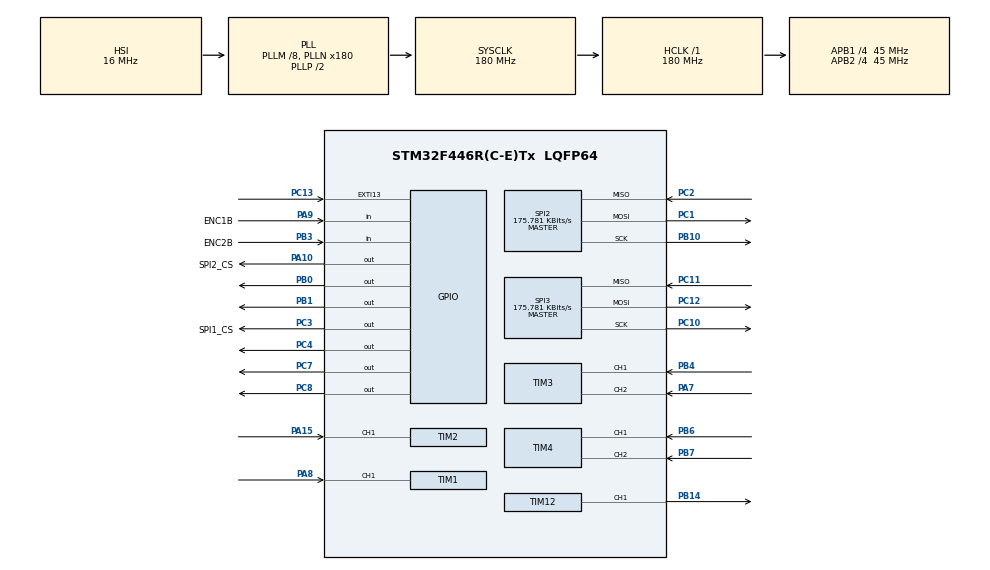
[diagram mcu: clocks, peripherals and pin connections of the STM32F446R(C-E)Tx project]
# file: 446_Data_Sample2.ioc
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Mcu.Family=STM32F4
Mcu.Name=STM32F446R(C-E)Tx
Mcu.Package=LQFP64
NVIC.EXTI15_10_IRQn=true\:0\:0\:false\:false\:true\:true\:true\:true
NVIC.PriorityGroup=NVIC_PRIORITYGROUP_0
NVIC.TIM1_CC_IRQn=true\:0\:0\:false\:false\:true\:true\:true\:true
NVIC.TIM2_IRQn=true\:0\:0\:false\:false\:true\:true\:true\:true
PA10.GPIO_Label=SPI2_CS
PA10.GPIO_PuPd=GPIO_PULLUP
PA10.GPIO_Speed=GPIO_SPEED_FREQ_HIGH
PA10.PinState=GPIO_PIN_SET
PA10.Signal=GPIO_Output
PA15.Signal=S_TIM2_CH1_ETR
PA7.Signal=S_TIM3_CH2
PA8.Signal=S_TIM1_CH1
PA9.GPIO_Label=ENC1B
PA9.Signal=GPIO_Input
PB0.Signal=GPIO_Output
PB1.Signal=GPIO_Output
PB10.GPIO_PuPd=GPIO_PULLUP
PB10.Mode=Full_Duplex_Master
PB10.Signal=SPI2_SCK
PB14.Signal=S_TIM12_CH1
PB3.GPIO_Label=ENC2B
PB3.Signal=GPIO_Input
PB4.Signal=S_TIM3_CH1
PB6.Signal=S_TIM4_CH1
PB7.Signal=S_TIM4_CH2
PC1.GPIO_PuPd=GPIO_PULLUP
PC1.Mode=Full_Duplex_Master
PC1.Signal=SPI2_MOSI
PC10.GPIO_PuPd=GPIO_PULLUP
PC10.Mode=Full_Duplex_Master
PC10.Signal=SPI3_SCK
PC11.GPIO_PuPd=GPIO_PULLUP
PC11.Mode=Full_Duplex_Master
PC11.Signal=SPI3_MISO
PC12.GPIO_PuPd=GPIO_PULLUP
PC12.Mode=Full_Duplex_Master
PC12.Signal=SPI3_MOSI
PC13.Signal=GPXTI13
PC14-OSC32_IN.Mode=LSE-External-Oscillator
PC14-OSC32_IN.Signal=RCC_OSC32_IN
PC15-OSC32_OUT.Mode=LSE-External-Oscillator
PC15-OSC32_OUT.Signal=RCC_OSC32_OUT
PC2.GPIO_PuPd=GPIO_PULLUP
PC2.Mode=Full_Duplex_Master
PC2.Signal=SPI2_MISO
PC3.GPIO_Label=SPI1_CS
PC3.GPIO_PuPd=GPIO_PULLUP
PC3.GPIO_Speed=GPIO_SPEED_FREQ_HIGH
PC3.PinState=GPIO_PIN_SET
PC3.Signal=GPIO_Output
PC4.GPIO_PuPd=GPIO_NOPULL
PC4.GPIO_Speed=GPIO_SPEED_FREQ_LOW
PC4.Signal=GPIO_Output
PC7.Signal=GPIO_Output
PC8.Signal=GPIO_Output
PC9.Signal=S_TIM3_CH4
PH0-OSC_IN.Mode=HSE-External-Oscillator
PH0-OSC_IN.Signal=RCC_OSC_IN
PH1-OSC_OUT.Mode=HSE-External-Oscillator
PH1-OSC_OUT.Signal=RCC_OSC_OUT
ProjectManager.HeapSize=0x200
ProjectManager.StackSize=0x400
ProjectManager.TargetToolchain=STM32CubeIDE
RCC.AHBFreq_Value=180000000
RCC.APB1CLKDivider=RCC_HCLK_DIV4
RCC.APB1Freq_Value=45000000
RCC.APB1TimFreq_Value=90000000
RCC.APB2CLKDivider=RCC_HCLK_DIV4
RCC.APB2Freq_Value=45000000
RCC.APB2TimFreq_Value=90000000
RCC.CortexFreq_Value=180000000
RCC.FLatency-AdvancedSettings=FLASH_LATENCY_5
RCC.HCLKFreq_Value=180000000
RCC.HSE_VALUE=8000000
RCC.HSI_VALUE=16000000
RCC.PLLM=8
RCC.PLLN=180
RCC.SYSCLKFreq_VALUE=180000000
RCC.SYSCLKSource=RCC_SYSCLKSOURCE_PLLCLK
RCC.USBFreq_Value=180000000
RCC.VCOOutputFreq_Value=360000000
SH.S_TIM12_CH1.0=TIM12_CH1,PWM Generation1 CH1
SH.S_TIM1_CH1.0=TIM1_CH1,Input_Capture1_from_TI1
SH.S_TIM2_CH1_ETR.0=TIM2_CH1,Input_Capture1_from_TI1
SH.S_TIM3_CH1.0=TIM3_CH1,Encoder_Interface
SH.S_TIM3_CH2.0=TIM3_CH2,Encoder_Interface
SH.S_TIM3_CH4.0=TIM3_CH4
SH.S_TIM4_CH1.0=TIM4_CH1,Encoder_Interface
SH.S_TIM4_CH2.0=TIM4_CH2,Encoder_Interface
SPI2.BaudRatePrescaler=SPI_BAUDRATEPRESCALER_256
SPI2.CalculateBaudRate=175.781 KBits/s
SPI2.Direction=SPI_DIRECTION_2LINES
SPI2.Mode=SPI_MODE_MASTER
SPI2.VirtualType=VM_MASTER
SPI3.BaudRatePrescaler=SPI_BAUDRATEPRESCALER_256
SPI3.CalculateBaudRate=175.781 KBits/s
SPI3.Direction=SPI_DIRECTION_2LINES
SPI3.Mode=SPI_MODE_MASTER
SPI3.VirtualType=VM_MASTER
TIM1.AutoReloadPreload=TIM_AUTORELOAD_PRELOAD_ENABLE
TIM1.Channel-Input_Capture1_from_TI1=TIM_CHANNEL_1
TIM1.ICFilter_CH1=3
TIM12.Channel-PWM\ Generation1\ CH1=TIM_CHANNEL_1
TIM12.Period=999
TIM12.Prescaler=89
TIM2.Channel-Input_Capture1_from_TI1=TIM_CHANNEL_1
TIM2.ICFilter_CH1=3
TIM2.Prescaler=89
TIM3.EncoderMode=TIM_ENCODERMODE_TI12
TIM4.EncoderMode=TIM_ENCODERMODE_TI12
TIM4.IC1Filter=3
TIM4.IC2Filter=3
TIM5.Prescaler=89
VP_FATFS_VS_Generic.Mode=User_defined
VP_TIM12_VS_ClockSourceINT.Mode=Internal
VP_TIM5_VS_ClockSourceINT.Mode=Internal
board=NUCLEO-F446RE

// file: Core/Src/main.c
/* USER CODE BEGIN Header */
/**
 ******************************************************************************
 * @file           : main.c
 * @brief          : Main program body
 ******************************************************************************
 * @attention
 *
 * Copyright (c) 2026 STMicroelectronics.
 * All rights reserved.
 *
 * This software is licensed under terms that can be found in the LICENSE file
 * in the root directory of this software component.
 * If no LICENSE file comes with this software, it is provided AS-IS.
 *
 ******************************************************************************
 */
/* USER CODE END Header */
#include "main.h"
#include "fatfs.h"

/* USER CODE BEGIN Includes */
#include "stdio.h"
#include "string.h"
#include"stdarg.h"
#include "motor.h"
#include "amt203.h"
typedef struct {
	uint32_t time_stamp;   // ms
	int32_t ENC1_pos;     // Encoder 1 position
	int32_t ENC2_pos;     // Encoder 2 position
	int8_t  ENC1_dir;     // +1 / -1 (last direction)
	int8_t  ENC2_dir;     // +1 / -1
	int16_t Angle;
} Buffer_struct;
typedef struct __attribute__((packed)) {
	uint32_t time_stamp;
	int32_t  ENC1_pos;
	int32_t  ENC2_pos;
	int8_t   ENC1_dir;
	int8_t   ENC2_dir;
	int16_t Angle;
} LogEntry;
#define LOG_BUFFER_SIZE 512  // Буферийг томсгов
#define WRITE_CACHE_SIZE 512  // SD картны сектортой ижил
volatile LogEntry logBuffer[LOG_BUFFER_SIZE];
uint8_t write_cache[WRITE_CACHE_SIZE];
uint16_t 	cache_ptr = 0;
#define RAD_PER_COUNT 0.076660f   // = 2*pi / (1600 * 0.01)
volatile uint16_t head = 0;   // write index (ISR)
volatile uint16_t tail = 0;   // read index (main)
volatile Buffer_struct Log;
//volatile uint16_t logIndex = 0;
//volatile uint8_t logReady = 0;
uint8_t dummy = 0xFF;
int16_t Count_a=0;
int16_t Count_b=0;
int16_t ir_count;
int16_t irA_count;
int16_t irB_count;
uint16_t pos=0;
volatile int16_t latestAngle;
volatile FRESULT sd_res = FR_OK;
volatile UINT sd_bw = 0;
volatile uint16_t sd_size = 0;
volatile uint32_t sd_error_count = 0;
volatile uint32_t sd_write_count = 0;
volatile uint32_t pop_count = 0;
#define AMT203_CS_LOW()   HAL_GPIO_WritePin(SPI1_CS_GPIO_Port,SPI1_CS_Pin, GPIO_PIN_RESET)
#define AMT203_CS_HIGH()  HAL_GPIO_WritePin(SPI1_CS_GPIO_Port,SPI1_CS_Pin, GPIO_PIN_SET)
AMT203_t  encoder;
uint16_t  encoderRawPosition;    /* 0–4095, 0xFFFF = read failure     */
float     encoderDegrees;        /* 0.0–360.0                          */
uint8_t   encoderSetZeroResult;  /* 1 = success (power-cycle required) */
uint8_t   spiLastResponse;       /* last raw byte from encoder — debug */
uint8_t Angle_read_flag=0;
/* USER CODE END Includes */

SPI_HandleTypeDef hspi2;
SPI_HandleTypeDef hspi3;

TIM_HandleTypeDef htim1;
TIM_HandleTypeDef htim2;
TIM_HandleTypeDef htim3;
TIM_HandleTypeDef htim4;
TIM_HandleTypeDef htim5;
TIM_HandleTypeDef htim12;

/* USER CODE BEGIN PV */
Motor_Encoder_Variables Motor_Encoder;
PID_Variables Motor_PID;
DC_Motor_GPIO_t Motor_GPIO;
int16_t speed1=0;
uint8_t write_flag=0;

static inline void log_push(LogEntry *entry)
{
	uint16_t next = (head + 1) % LOG_BUFFER_SIZE;
	if(next == tail)
	{
		// Buffer full → overflow (алдаа)
		return;
	}
	logBuffer[head] = *entry;
	head = next;
}

//void HAL_TIM_IC_CaptureCallback(TIM_HandleTypeDef *htim)
//{
//	if(write_flag==1)
//	{
//	LogEntry entry={0};
//	int8_t dir;
//	ir_count++;
//	/* Global 1µs timestamp (32-bit, no overflow issue) */
//	uint32_t ts = TIM5->CNT;
//
//	/* ================= ENC1 (TIM2) ================= */
//	if (htim->Instance == TIM1 &&
//			htim->Channel == HAL_TIM_ACTIVE_CHANNEL_1)
//	{
//		dir = (ENC1B_GPIO_Port->IDR & ENC1B_Pin) ? -1 : 1;
//		Log.ENC1_pos += dir;
//		Count_a+=dir;
//		entry.time_stamp = ts;
//		entry.ENC1_pos   = Log.ENC1_pos;
//		entry.ENC2_pos   = Log.ENC2_pos;
//		entry.ENC1_dir   = dir;
//		entry.ENC2_dir   = 0;
//		log_push(&entry);
//		dir=0;
//		irA_count++;
//
//	}
//
//	/* ================= ENC2 (TIM1) ================= */
//	 if (htim->Instance == TIM2 &&
//			htim->Channel == HAL_TIM_ACTIVE_CHANNEL_1)
//	{
//		dir = (ENC2B_GPIO_Port->IDR & ENC2B_Pin) ? -1 : 1;
//		Log.ENC2_pos += dir;
//		Count_b+=dir;
//		entry.time_stamp = ts;
//		entry.ENC1_pos   = Log.ENC1_pos;
//		entry.ENC2_pos   = Log.ENC2_pos;
//		entry.ENC1_dir   = 0;
//		entry.ENC2_dir   = dir;
//		log_push(&entry);
//		dir=0;
//		irB_count++;
//
//	}
//	}
//}
void HAL_TIM_IC_CaptureCallback(TIM_HandleTypeDef *htim)
{
    if (write_flag == 0) return;

    LogEntry entry = {0};
    int8_t dir = 0;
    uint32_t ts = TIM5->CNT;
    if (htim->Instance == TIM1 &&
        htim->Channel == HAL_TIM_ACTIVE_CHANNEL_1)
    {
        dir = (ENC1B_GPIO_Port->IDR & ENC1B_Pin) ? -1 : 1;

        Log.ENC1_pos += dir;
        Count_a += dir;

        entry.time_stamp = ts;
        entry.ENC1_pos   = Log.ENC1_pos;
        entry.ENC2_pos   = Log.ENC2_pos;
        entry.ENC1_dir   = dir;
        entry.ENC2_dir   = 0;
        entry.Angle=latestAngle;
        log_push(&entry);
        irA_count++;
    }
    else if (htim->Instance == TIM2 &&
             htim->Channel == HAL_TIM_ACTIVE_CHANNEL_1)
    {
        dir = (ENC2B_GPIO_Port->IDR & ENC2B_Pin) ? -1 : 1;

        Log.ENC2_pos += dir;
        Count_b += dir;

        entry.time_stamp = ts;
        entry.ENC1_pos   = Log.ENC1_pos;
        entry.ENC2_pos   = Log.ENC2_pos;
        entry.ENC1_dir   = 0;
        entry.ENC2_dir   = dir;
        entry.Angle=latestAngle;;
        log_push(&entry);
        irB_count++;
    }
}
static uint32_t last = 0;
volatile uint8_t flush_request = 0;
void HAL_GPIO_EXTI_Callback(uint16_t GPIO_Pin)
{
    if (GPIO_Pin == GPIO_PIN_13)
    {
        if (HAL_GetTick() - last > 200)
        {
            write_flag ^= 1;
            last = HAL_GetTick();

            if (write_flag)
                Motor_PID.SP = -20;
            else
                Motor_PID.SP = 0;
        }
    }
}
static int log_pop(LogEntry *entry)
{
	if(head == tail)
		return 0; // empty
	*entry = logBuffer[tail];
	tail = (tail + 1) % LOG_BUFFER_SIZE;
	return 1;
}

void Estimate_Speed1(Motor_Encoder_Variables *Encoder)
{
    Encoder->CurrentPos = Encoder->timer_address->Instance->CNT;

    int16_t diff =Encoder->CurrentPos - Encoder->Oldpos;
    Encoder->Oldpos =  Encoder->CurrentPos;

    Encoder->difference = diff;

    // ✔ rad/s
    Encoder->Speed = (float)diff * RAD_PER_COUNT;
}
/* USER CODE END PV */

void SystemClock_Config(void);
static void MX_GPIO_Init(void);
static void MX_TIM1_Init(void);
static void MX_TIM2_Init(void);
static void MX_TIM3_Init(void);
static void MX_SPI2_Init(void);
static void MX_TIM5_Init(void);
static void MX_TIM12_Init(void);
static void MX_SPI3_Init(void);
static void MX_TIM4_Init(void);

int main(void)
{

  /* MCU Configuration--------------------------------------------------------*/

  /* Reset of all peripherals, Initializes the Flash interface and the Systick. */
  HAL_Init();

  /* Configure the system clock */
  SystemClock_Config();

  /* Initialize all configured peripherals */
  MX_GPIO_Init();
  MX_TIM1_Init();
  MX_TIM2_Init();
  MX_TIM3_Init();
  MX_SPI2_Init();
  MX_FATFS_Init();
  MX_TIM5_Init();
  MX_TIM12_Init();
  MX_SPI3_Init();
  MX_TIM4_Init();
  /* USER CODE BEGIN 2 */

  AMT203_Init(&encoder, &hspi3, GPIOC, GPIO_PIN_3);
  HAL_Delay(2);
  AMT203_SetZero(&encoder);  /* USER CODE END 2 */
	FATFS FatFs; 	//Fatfs handle
	FIL fil; 		//File handle
	FRESULT fres; //Result after operations
	HAL_Delay(500);

	fres = f_mount(&FatFs, "", 1);
	if(fres != FR_OK) while(1);

	fres = f_open(&fil, "log16.bin", FA_OPEN_ALWAYS | FA_WRITE);
	if (fres != FR_OK) Error_Handler();

	f_lseek(&fil, f_size(&fil));

	UINT bw;
	char test[] = "START\n";
	fres = f_write(&fil, test, strlen(test), &bw);

	if (fres != FR_OK || bw != strlen(test))
	    Error_Handler();

	f_sync(&fil);
	f_lseek(&fil, f_size(&fil));
	HAL_TIM_Base_Start(&htim5);
	HAL_TIM_IC_Start_IT(&htim1, TIM_CHANNEL_1);
	HAL_TIM_IC_Start_IT(&htim2, TIM_CHANNEL_1);
	hspi2.Instance = SPI2;
	hspi2.Init.BaudRatePrescaler = SPI_BAUDRATEPRESCALER_16;   // эсвэл 8
	HAL_SPI_Init(&hspi2);
	HAL_TIM_PWM_Start(&htim12, TIM_CHANNEL_1);
	Motor_Encoder.timer_address=&htim3;
	Motor_GPIO.PWM_CHANNEL_ADDRESS=(uint32_t *)&TIM12->CCR1;
	Motor_GPIO.pinA=GPIO_PIN_7;
	Motor_GPIO.pinB=GPIO_PIN_8;
	Motor_GPIO.portA=GPIOC;
	Motor_GPIO.portB=GPIOC;
	PID_init(&Motor_PID, 1.5, 0.03, 0.25, -26.18, 26.18, -999, 999);
	uint32_t last_measure_time=0;
	HAL_TIM_Encoder_Start(&htim3, TIM_CHANNEL_ALL);
  /* USER CODE END 2 */

  /* Infinite loop */
	while (1)
	{

    /* USER CODE BEGIN 3 */
		/* ===== SD бичилт ===== */
		LogEntry entry;
		if (log_pop(&entry))
		{
		    memcpy(&write_cache[cache_ptr], &entry, sizeof(LogEntry));
		    cache_ptr += sizeof(LogEntry);

		    if (cache_ptr >= (WRITE_CACHE_SIZE - sizeof(LogEntry)))
		    {
		        sd_size = cache_ptr;
		        sd_res = f_write(&fil, write_cache, cache_ptr, &sd_bw);

		        if (sd_res != FR_OK || sd_bw != cache_ptr)
		        {
		            sd_error_count++;
		        }
		        else
		        {
		            sd_write_count++;
		        }

		        cache_ptr = 0;
		    }
		}
		if (flush_request)
		{
		    UINT bw;

		    if (cache_ptr > 0)
		    {
		        f_write(&fil, write_cache, cache_ptr, &bw);
		        cache_ptr = 0;
		    }

		    f_sync(&fil);
		    flush_request = 0;
		}
		/* 2 секунд тутам үлдсэн data-г SD руу flush хийнэ */
		static uint32_t last_sync = 0;

    	    encoderRawPosition = AMT203_GetPosition(&encoder);

    	    if (encoderRawPosition != AMT203_RD_FAILED)
    	    {
    	        encoderDegrees = ((float)encoderRawPosition / 4096.0f) * 360.0f*10;
    	        latestAngle = (int16_t)(encoderDegrees);
    	    }

		if (HAL_GetTick() - last_sync >= 1000)
		{
		    if (cache_ptr > 0)
		    {
		        UINT bw;
		        FRESULT res;

		        res = f_write(&fil, write_cache, cache_ptr, &bw);

		        if (res != FR_OK)
		        {
		            sd_error_count++;
		        }
		        else if (bw != cache_ptr)
		        {
		            sd_error_count++;   // partial write
		        }
		        else
		        {
		            sd_write_count++;
		        }

		        cache_ptr = 0;
		    }

		    f_sync(&fil);
		    last_sync = HAL_GetTick();
		}

		/* ===== PID 10ms ===== */
		static uint32_t last_time = 0;

		if (HAL_GetTick() - last_time >= 10)
		{
		    last_time += 10;

		    Estimate_Speed1(&Motor_Encoder);

		    Motor_PID.PV = Motor_Encoder.Speed;

		    PID_estimate(&Motor_PID);

		    DC_MOTOR_SET_DIRECTION(&Motor_GPIO, Motor_PID.CO * 38);
		}
	}
  /* USER CODE END 3 */
}

void SystemClock_Config(void)
{
  RCC_OscInitTypeDef RCC_OscInitStruct = {0};
  RCC_ClkInitTypeDef RCC_ClkInitStruct = {0};

  /** Configure the main internal regulator output voltage
  */
  __HAL_RCC_PWR_CLK_ENABLE();
  __HAL_PWR_VOLTAGESCALING_CONFIG(PWR_REGULATOR_VOLTAGE_SCALE1);

  /** Initializes the RCC Oscillators according to the specified parameters
  * in the RCC_OscInitTypeDef structure.
  */
  RCC_OscInitStruct.OscillatorType = RCC_OSCILLATORTYPE_HSI;
  RCC_OscInitStruct.HSIState = RCC_HSI_ON;
  RCC_OscInitStruct.HSICalibrationValue = RCC_HSICALIBRATION_DEFAULT;
  RCC_OscInitStruct.PLL.PLLState = RCC_PLL_ON;
  RCC_OscInitStruct.PLL.PLLSource = RCC_PLLSOURCE_HSI;
  RCC_OscInitStruct.PLL.PLLM = 8;
  RCC_OscInitStruct.PLL.PLLN = 180;
  RCC_OscInitStruct.PLL.PLLP = RCC_PLLP_DIV2;
  RCC_OscInitStruct.PLL.PLLQ = 2;
  RCC_OscInitStruct.PLL.PLLR = 2;
  if (HAL_RCC_OscConfig(&RCC_OscInitStruct) != HAL_OK)
  {
    Error_Handler();
  }

  /** Activate the Over-Drive mode
  */
  if (HAL_PWREx_EnableOverDrive() != HAL_OK)
  {
    Error_Handler();
  }

  /** Initializes the CPU, AHB and APB buses clocks
  */
  RCC_ClkInitStruct.ClockType = RCC_CLOCKTYPE_HCLK|RCC_CLOCKTYPE_SYSCLK
                              |RCC_CLOCKTYPE_PCLK1|RCC_CLOCKTYPE_PCLK2;
  RCC_ClkInitStruct.SYSCLKSource = RCC_SYSCLKSOURCE_PLLCLK;
  RCC_ClkInitStruct.AHBCLKDivider = RCC_SYSCLK_DIV1;
  RCC_ClkInitStruct.APB1CLKDivider = RCC_HCLK_DIV4;
  RCC_ClkInitStruct.APB2CLKDivider = RCC_HCLK_DIV4;

  if (HAL_RCC_ClockConfig(&RCC_ClkInitStruct, FLASH_LATENCY_5) != HAL_OK)
  {
    Error_Handler();
  }
}

static void MX_SPI2_Init(void)
{

  /* SPI2 parameter configuration*/
  hspi2.Instance = SPI2;
  hspi2.Init.Mode = SPI_MODE_MASTER;
  hspi2.Init.Direction = SPI_DIRECTION_2LINES;
  hspi2.Init.DataSize = SPI_DATASIZE_8BIT;
  hspi2.Init.CLKPolarity = SPI_POLARITY_LOW;
  hspi2.Init.CLKPhase = SPI_PHASE_1EDGE;
  hspi2.Init.NSS = SPI_NSS_SOFT;
  hspi2.Init.BaudRatePrescaler = SPI_BAUDRATEPRESCALER_256;
  hspi2.Init.FirstBit = SPI_FIRSTBIT_MSB;
  hspi2.Init.TIMode = SPI_TIMODE_DISABLE;
  hspi2.Init.CRCCalculation = SPI_CRCCALCULATION_DISABLE;
  hspi2.Init.CRCPolynomial = 10;
  if (HAL_SPI_Init(&hspi2) != HAL_OK)
  {
    Error_Handler();
  }

}

static void MX_SPI3_Init(void)
{

  /* SPI3 parameter configuration*/
  hspi3.Instance = SPI3;
  hspi3.Init.Mode = SPI_MODE_MASTER;
  hspi3.Init.Direction = SPI_DIRECTION_2LINES;
  hspi3.Init.DataSize = SPI_DATASIZE_8BIT;
  hspi3.Init.CLKPolarity = SPI_POLARITY_LOW;
  hspi3.Init.CLKPhase = SPI_PHASE_1EDGE;
  hspi3.Init.NSS = SPI_NSS_SOFT;
  hspi3.Init.BaudRatePrescaler = SPI_BAUDRATEPRESCALER_256;
  hspi3.Init.FirstBit = SPI_FIRSTBIT_MSB;
  hspi3.Init.TIMode = SPI_TIMODE_DISABLE;
  hspi3.Init.CRCCalculation = SPI_CRCCALCULATION_DISABLE;
  hspi3.Init.CRCPolynomial = 10;
  if (HAL_SPI_Init(&hspi3) != HAL_OK)
  {
    Error_Handler();
  }

}

static void MX_TIM1_Init(void)
{

  TIM_MasterConfigTypeDef sMasterConfig = {0};
  TIM_IC_InitTypeDef sConfigIC = {0};

  htim1.Instance = TIM1;
  htim1.Init.Prescaler = 0;
  htim1.Init.CounterMode = TIM_COUNTERMODE_UP;
  htim1.Init.Period = 65535;
  htim1.Init.ClockDivision = TIM_CLOCKDIVISION_DIV1;
  htim1.Init.RepetitionCounter = 0;
  htim1.Init.AutoReloadPreload = TIM_AUTORELOAD_PRELOAD_ENABLE;
  if (HAL_TIM_IC_Init(&htim1) != HAL_OK)
  {
    Error_Handler();
  }
  sMasterConfig.MasterOutputTrigger = TIM_TRGO_RESET;
  sMasterConfig.MasterSlaveMode = TIM_MASTERSLAVEMODE_DISABLE;
  if (HAL_TIMEx_MasterConfigSynchronization(&htim1, &sMasterConfig) != HAL_OK)
  {
    Error_Handler();
  }
  sConfigIC.ICPolarity = TIM_INPUTCHANNELPOLARITY_RISING;
  sConfigIC.ICSelection = TIM_ICSELECTION_DIRECTTI;
  sConfigIC.ICPrescaler = TIM_ICPSC_DIV1;
  sConfigIC.ICFilter = 3;
  if (HAL_TIM_IC_ConfigChannel(&htim1, &sConfigIC, TIM_CHANNEL_1) != HAL_OK)
  {
    Error_Handler();
  }

}

static void MX_TIM2_Init(void)
{

  TIM_MasterConfigTypeDef sMasterConfig = {0};
  TIM_IC_InitTypeDef sConfigIC = {0};

  htim2.Instance = TIM2;
  htim2.Init.Prescaler = 89;
  htim2.Init.CounterMode = TIM_COUNTERMODE_UP;
  htim2.Init.Period = 4294967295;
  htim2.Init.ClockDivision = TIM_CLOCKDIVISION_DIV1;
  htim2.Init.AutoReloadPreload = TIM_AUTORELOAD_PRELOAD_DISABLE;
  if (HAL_TIM_IC_Init(&htim2) != HAL_OK)
  {
    Error_Handler();
  }
  sMasterConfig.MasterOutputTrigger = TIM_TRGO_RESET;
  sMasterConfig.MasterSlaveMode = TIM_MASTERSLAVEMODE_DISABLE;
  if (HAL_TIMEx_MasterConfigSynchronization(&htim2, &sMasterConfig) != HAL_OK)
  {
    Error_Handler();
  }
  sConfigIC.ICPolarity = TIM_INPUTCHANNELPOLARITY_RISING;
  sConfigIC.ICSelection = TIM_ICSELECTION_DIRECTTI;
  sConfigIC.ICPrescaler = TIM_ICPSC_DIV1;
  sConfigIC.ICFilter = 3;
  if (HAL_TIM_IC_ConfigChannel(&htim2, &sConfigIC, TIM_CHANNEL_1) != HAL_OK)
  {
    Error_Handler();
  }

}

static void MX_TIM3_Init(void)
{

  TIM_Encoder_InitTypeDef sConfig = {0};
  TIM_MasterConfigTypeDef sMasterConfig = {0};

  htim3.Instance = TIM3;
  htim3.Init.Prescaler = 0;
  htim3.Init.CounterMode = TIM_COUNTERMODE_UP;
  htim3.Init.Period = 65535;
  htim3.Init.ClockDivision = TIM_CLOCKDIVISION_DIV1;
  htim3.Init.AutoReloadPreload = TIM_AUTORELOAD_PRELOAD_DISABLE;
  sConfig.EncoderMode = TIM_ENCODERMODE_TI12;
  sConfig.IC1Polarity = TIM_ICPOLARITY_RISING;
  sConfig.IC1Selection = TIM_ICSELECTION_DIRECTTI;
  sConfig.IC1Prescaler = TIM_ICPSC_DIV1;
  sConfig.IC1Filter = 0;
  sConfig.IC2Polarity = TIM_ICPOLARITY_RISING;
  sConfig.IC2Selection = TIM_ICSELECTION_DIRECTTI;
  sConfig.IC2Prescaler = TIM_ICPSC_DIV1;
  sConfig.IC2Filter = 0;
  if (HAL_TIM_Encoder_Init(&htim3, &sConfig) != HAL_OK)
  {
    Error_Handler();
  }
  sMasterConfig.MasterOutputTrigger = TIM_TRGO_RESET;
  sMasterConfig.MasterSlaveMode = TIM_MASTERSLAVEMODE_DISABLE;
  if (HAL_TIMEx_MasterConfigSynchronization(&htim3, &sMasterConfig) != HAL_OK)
  {
    Error_Handler();
  }

}

static void MX_TIM4_Init(void)
{

  TIM_Encoder_InitTypeDef sConfig = {0};
  TIM_MasterConfigTypeDef sMasterConfig = {0};

  htim4.Instance = TIM4;
  htim4.Init.Prescaler = 0;
  htim4.Init.CounterMode = TIM_COUNTERMODE_UP;
  htim4.Init.Period = 65535;
  htim4.Init.ClockDivision = TIM_CLOCKDIVISION_DIV1;
  htim4.Init.AutoReloadPreload = TIM_AUTORELOAD_PRELOAD_DISABLE;
  sConfig.EncoderMode = TIM_ENCODERMODE_TI12;
  sConfig.IC1Polarity = TIM_ICPOLARITY_RISING;
  sConfig.IC1Selection = TIM_ICSELECTION_DIRECTTI;
  sConfig.IC1Prescaler = TIM_ICPSC_DIV1;
  sConfig.IC1Filter = 3;
  sConfig.IC2Polarity = TIM_ICPOLARITY_RISING;
  sConfig.IC2Selection = TIM_ICSELECTION_DIRECTTI;
  sConfig.IC2Prescaler = TIM_ICPSC_DIV1;
  sConfig.IC2Filter = 3;
  if (HAL_TIM_Encoder_Init(&htim4, &sConfig) != HAL_OK)
  {
    Error_Handler();
  }
  sMasterConfig.MasterOutputTrigger = TIM_TRGO_RESET;
  sMasterConfig.MasterSlaveMode = TIM_MASTERSLAVEMODE_DISABLE;
  if (HAL_TIMEx_MasterConfigSynchronization(&htim4, &sMasterConfig) != HAL_OK)
  {
    Error_Handler();
  }

}

static void MX_TIM5_Init(void)
{

  TIM_ClockConfigTypeDef sClockSourceConfig = {0};
  TIM_MasterConfigTypeDef sMasterConfig = {0};

  htim5.Instance = TIM5;
  htim5.Init.Prescaler = 89;
  htim5.Init.CounterMode = TIM_COUNTERMODE_UP;
  htim5.Init.Period = 4294967295;
  htim5.Init.ClockDivision = TIM_CLOCKDIVISION_DIV1;
  htim5.Init.AutoReloadPreload = TIM_AUTORELOAD_PRELOAD_DISABLE;
  if (HAL_TIM_Base_Init(&htim5) != HAL_OK)
  {
    Error_Handler();
  }
  sClockSourceConfig.ClockSource = TIM_CLOCKSOURCE_INTERNAL;
  if (HAL_TIM_ConfigClockSource(&htim5, &sClockSourceConfig) != HAL_OK)
  {
    Error_Handler();
  }
  sMasterConfig.MasterOutputTrigger = TIM_TRGO_RESET;
  sMasterConfig.MasterSlaveMode = TIM_MASTERSLAVEMODE_DISABLE;
  if (HAL_TIMEx_MasterConfigSynchronization(&htim5, &sMasterConfig) != HAL_OK)
  {
    Error_Handler();
  }

}

static void MX_TIM12_Init(void)
{

  TIM_ClockConfigTypeDef sClockSourceConfig = {0};
  TIM_OC_InitTypeDef sConfigOC = {0};

  htim12.Instance = TIM12;
  htim12.Init.Prescaler = 89;
  htim12.Init.CounterMode = TIM_COUNTERMODE_UP;
  htim12.Init.Period = 999;
  htim12.Init.ClockDivision = TIM_CLOCKDIVISION_DIV1;
  htim12.Init.AutoReloadPreload = TIM_AUTORELOAD_PRELOAD_DISABLE;
  if (HAL_TIM_Base_Init(&htim12) != HAL_OK)
  {
    Error_Handler();
  }
  sClockSourceConfig.ClockSource = TIM_CLOCKSOURCE_INTERNAL;
  if (HAL_TIM_ConfigClockSource(&htim12, &sClockSourceConfig) != HAL_OK)
  {
    Error_Handler();
  }
  if (HAL_TIM_PWM_Init(&htim12) != HAL_OK)
  {
    Error_Handler();
  }
  sConfigOC.OCMode = TIM_OCMODE_PWM1;
  sConfigOC.Pulse = 0;
  sConfigOC.OCPolarity = TIM_OCPOLARITY_HIGH;
  sConfigOC.OCFastMode = TIM_OCFAST_DISABLE;
  if (HAL_TIM_PWM_ConfigChannel(&htim12, &sConfigOC, TIM_CHANNEL_1) != HAL_OK)
  {
    Error_Handler();
  }
  HAL_TIM_MspPostInit(&htim12);

}

static void MX_GPIO_Init(void)
{
  GPIO_InitTypeDef GPIO_InitStruct = {0};

  /* GPIO Ports Clock Enable */
  __HAL_RCC_GPIOC_CLK_ENABLE();
  __HAL_RCC_GPIOH_CLK_ENABLE();
  __HAL_RCC_GPIOA_CLK_ENABLE();
  __HAL_RCC_GPIOB_CLK_ENABLE();

  /*Configure GPIO pin Output Level */
  HAL_GPIO_WritePin(SPI1_CS_GPIO_Port, SPI1_CS_Pin, GPIO_PIN_SET);

  /*Configure GPIO pin Output Level */
  HAL_GPIO_WritePin(GPIOC, GPIO_PIN_4|GPIO_PIN_7|GPIO_PIN_8, GPIO_PIN_RESET);

  /*Configure GPIO pin Output Level */
  HAL_GPIO_WritePin(GPIOB, GPIO_PIN_0|GPIO_PIN_1, GPIO_PIN_RESET);

  /*Configure GPIO pin Output Level */
  HAL_GPIO_WritePin(SPI2_CS_GPIO_Port, SPI2_CS_Pin, GPIO_PIN_SET);

  /*Configure GPIO pin : PC13 */
  GPIO_InitStruct.Pin = GPIO_PIN_13;
  GPIO_InitStruct.Mode = GPIO_MODE_IT_RISING;
  GPIO_InitStruct.Pull = GPIO_NOPULL;
  HAL_GPIO_Init(GPIOC, &GPIO_InitStruct);

  /*Configure GPIO pin : SPI1_CS_Pin */
  GPIO_InitStruct.Pin = SPI1_CS_Pin;
  GPIO_InitStruct.Mode = GPIO_MODE_OUTPUT_PP;
  GPIO_InitStruct.Pull = GPIO_PULLUP;
  GPIO_InitStruct.Speed = GPIO_SPEED_FREQ_HIGH;
  HAL_GPIO_Init(SPI1_CS_GPIO_Port, &GPIO_InitStruct);

  /*Configure GPIO pins : PC4 PC7 PC8 */
  GPIO_InitStruct.Pin = GPIO_PIN_4|GPIO_PIN_7|GPIO_PIN_8;
  GPIO_InitStruct.Mode = GPIO_MODE_OUTPUT_PP;
  GPIO_InitStruct.Pull = GPIO_NOPULL;
  GPIO_InitStruct.Speed = GPIO_SPEED_FREQ_LOW;
  HAL_GPIO_Init(GPIOC, &GPIO_InitStruct);

  /*Configure GPIO pins : PB0 PB1 */
  GPIO_InitStruct.Pin = GPIO_PIN_0|GPIO_PIN_1;
  GPIO_InitStruct.Mode = GPIO_MODE_OUTPUT_PP;
  GPIO_InitStruct.Pull = GPIO_NOPULL;
  GPIO_InitStruct.Speed = GPIO_SPEED_FREQ_LOW;
  HAL_GPIO_Init(GPIOB, &GPIO_InitStruct);

  /*Configure GPIO pin : ENC1B_Pin */
  GPIO_InitStruct.Pin = ENC1B_Pin;
  GPIO_InitStruct.Mode = GPIO_MODE_INPUT;
  GPIO_InitStruct.Pull = GPIO_NOPULL;
  HAL_GPIO_Init(ENC1B_GPIO_Port, &GPIO_InitStruct);

  /*Configure GPIO pin : SPI2_CS_Pin */
  GPIO_InitStruct.Pin = SPI2_CS_Pin;
  GPIO_InitStruct.Mode = GPIO_MODE_OUTPUT_PP;
  GPIO_InitStruct.Pull = GPIO_PULLUP;
  GPIO_InitStruct.Speed = GPIO_SPEED_FREQ_HIGH;
  HAL_GPIO_Init(SPI2_CS_GPIO_Port, &GPIO_InitStruct);

  /*Configure GPIO pin : ENC2B_Pin */
  GPIO_InitStruct.Pin = ENC2B_Pin;
  GPIO_InitStruct.Mode = GPIO_MODE_INPUT;
  GPIO_InitStruct.Pull = GPIO_NOPULL;
  HAL_GPIO_Init(ENC2B_GPIO_Port, &GPIO_InitStruct);

  /* EXTI interrupt init*/
  HAL_NVIC_SetPriority(EXTI15_10_IRQn, 0, 0);
  HAL_NVIC_EnableIRQ(EXTI15_10_IRQn);

}

void Error_Handler(void)
{
	__disable_irq();
	while (1)
	{
	}
}
